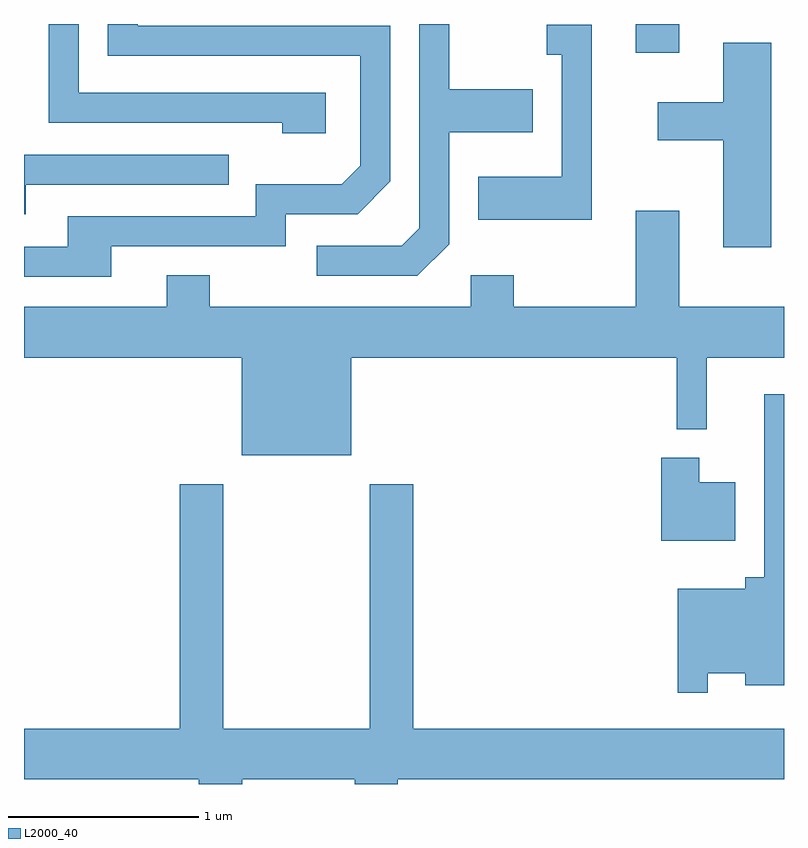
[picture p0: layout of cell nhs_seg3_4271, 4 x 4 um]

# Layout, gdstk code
import gdstk
lib = gdstk.Library(unit=1e-6, precision=1e-09)
def R(c, l, rs):  # rectangles x0, y0, x1, y1
    for r in rs: c.add(gdstk.rectangle(r[:2], r[2:], *l))
def P(c, l, *ps):  # polygons
    for p in ps: c.add(gdstk.Polygon(p, *l))
L2000_40 = (2000, 40)

nhs_seg3_4271 = lib.new_cell('nhs_seg3_4271')
R(nhs_seg3_4271, L2000_40, [(312.831,1229.741,313.059,1229.892)])
P(nhs_seg3_4271, L2000_40, [(310.069,1228.721),(310.989,1228.721),(310.989,1228.891),(311.367,1228.891),(311.539,1229.064),(311.539,1229.884),(310.209,1229.884),(310.209,1229.892),(310.051,1229.892),(310.051,1229.726),(311.381,1229.726),(311.381,1229.147),(311.284,1229.049),(310.831,1229.049),(310.831,1228.879),(309.841,1228.879),(309.841,1228.719),(309.611,1228.719),(309.611,1228.561),(310.069,1228.561)],
  [(311.849,1228.734),(311.849,1229.321),(312.289,1229.321),(312.289,1229.549),(311.849,1229.549),(311.849,1229.892),(311.691,1229.892),(311.691,1228.817),(311.599,1228.724),(311.153,1228.724),(311.153,1228.566),(311.682,1228.566)],
  [(311.199,1229.529),(309.899,1229.529),(309.899,1229.892),(309.741,1229.892),(309.741,1229.371),(310.971,1229.371),(310.971,1229.316),(311.199,1229.316)],
  [(312.599,1229.889),(312.363,1229.889),(312.363,1229.731),(312.441,1229.731),(312.441,1229.089),(312.001,1229.089),(312.001,1228.861),(312.599,1228.861)],
  [(313.544,1229.794),(313.291,1229.794),(313.291,1229.479),(312.946,1229.479),(312.946,1229.281),(313.291,1229.281),(313.291,1228.716),(313.544,1228.716)],
  [(309.619,1229.046),(310.688,1229.046),(310.688,1229.204),(309.611,1229.204),(309.611,1228.891),(309.619,1228.891)],
  [(313.046,1227.758),(313.204,1227.758),(313.204,1228.136),(313.611,1228.136),(313.611,1228.404),(313.059,1228.404),(313.059,1228.909),(312.831,1228.909),(312.831,1228.404),(312.189,1228.404),(312.189,1228.569),(311.961,1228.569),(311.961,1228.404),(310.589,1228.404),(310.589,1228.569),(310.361,1228.569),(310.361,1228.404),(309.611,1228.404),(309.611,1228.136),(310.756,1228.136),(310.756,1227.621),(311.334,1227.621),(311.334,1228.136),(313.046,1228.136)],
  [(313.209,1226.476),(313.406,1226.476),(313.406,1226.411),(313.611,1226.411),(313.611,1227.943),(313.506,1227.943),(313.506,1226.979),(313.406,1226.979),(313.406,1226.919),(313.051,1226.919),(313.051,1226.373),(313.209,1226.373)],
  [(313.354,1227.479),(313.164,1227.479),(313.164,1227.609),(312.966,1227.609),(312.966,1227.171),(313.354,1227.171)],
  [(310.759,1225.916),(311.351,1225.916),(311.351,1225.892),(311.579,1225.892),(311.579,1225.916),(313.611,1225.916),(313.611,1226.184),(311.659,1226.184),(311.659,1227.469),(311.431,1227.469),(311.431,1226.184),(310.659,1226.184),(310.659,1227.469),(310.431,1227.469),(310.431,1226.184),(309.611,1226.184),(309.611,1225.916),(310.531,1225.916),(310.531,1225.892),(310.759,1225.892)])

lib.write_gds('nhs_seg3_4271.gds')
